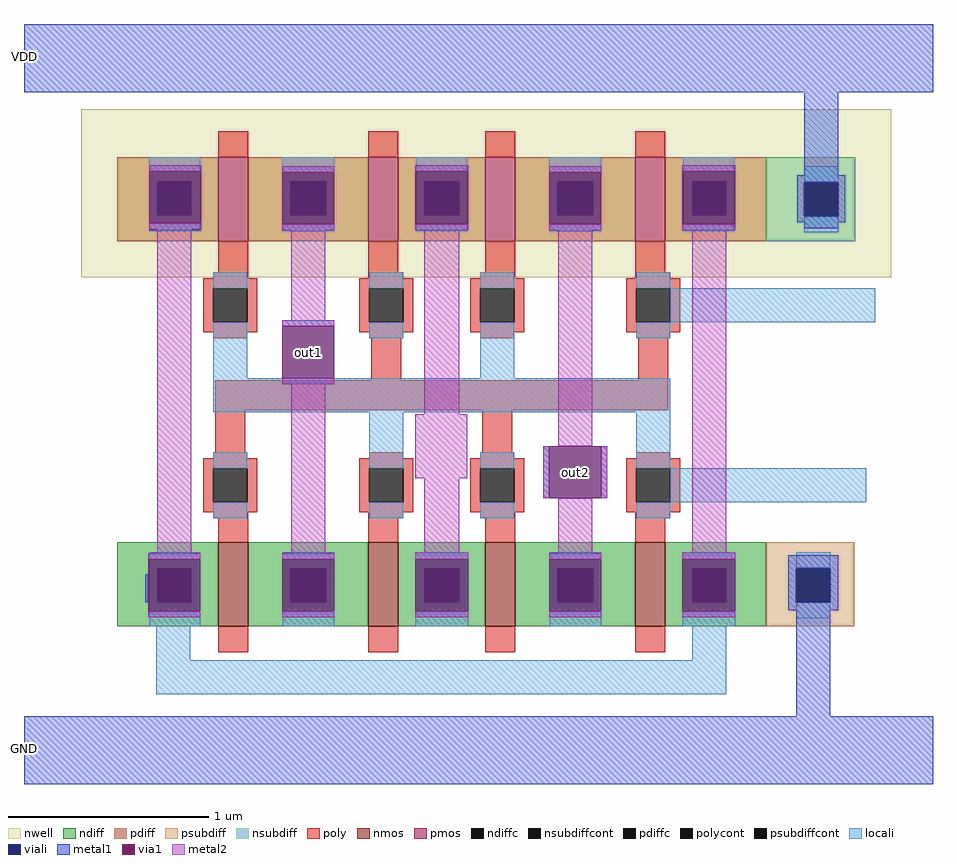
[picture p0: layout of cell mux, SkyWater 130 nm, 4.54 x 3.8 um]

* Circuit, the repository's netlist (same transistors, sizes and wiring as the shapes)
* SPICE3 file created from mux.ext - technology: sky130A

X0 in2 ctrl out1 VDD sky130_fd_pr__pfet_01v8 ad=0p pd=0u as=0p ps=0u w=420000u l=150000u
X1 in1 ctrl out2 VDD sky130_fd_pr__pfet_01v8 ad=0p pd=0u as=0p ps=0u w=420000u l=150000u
X2 out2 ctrl in2 GND sky130_fd_pr__nfet_01v8 ad=0p pd=0u as=0p ps=0u w=420000u l=150000u
X3 out1 ctrl in1 GND sky130_fd_pr__nfet_01v8 ad=0p pd=0u as=0p ps=0u w=420000u l=150000u
X4 in2 ctrlb out1 GND sky130_fd_pr__nfet_01v8 ad=0p pd=0u as=0p ps=0u w=420000u l=150000u
X5 out2 ctrlb in2 VDD sky130_fd_pr__pfet_01v8 ad=0p pd=0u as=0p ps=0u w=420000u l=150000u
X6 in1 ctrlb out2 GND sky130_fd_pr__nfet_01v8 ad=0p pd=0u as=0p ps=0u w=420000u l=150000u
X7 out1 ctrlb in1 VDD sky130_fd_pr__pfet_01v8 ad=0p pd=0u as=0p ps=0u w=420000u l=150000u

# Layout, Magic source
magic
tech sky130B
magscale 1 2
<< nwell >>
rect -167 428 643 596
<< nmos >>
rect -30 79 0 163
rect 120 79 150 163
rect 237 79 267 163
rect 387 79 417 163
<< pmos >>
rect -30 464 0 548
rect 120 464 150 548
rect 237 464 267 548
rect 387 464 417 548
<< ndiff >>
rect -131 137 -30 163
rect -131 103 -91 137
rect -57 103 -30 137
rect -131 79 -30 103
rect 0 137 120 163
rect 0 103 42 137
rect 78 103 120 137
rect 0 79 120 103
rect 150 137 237 163
rect 150 103 176 137
rect 211 103 237 137
rect 150 79 237 103
rect 267 137 387 163
rect 267 103 309 137
rect 345 103 387 137
rect 267 79 387 103
rect 417 137 518 163
rect 417 103 444 137
rect 478 103 518 137
rect 417 79 518 103
<< pdiff >>
rect -131 524 -30 548
rect -131 490 -91 524
rect -57 490 -30 524
rect -131 464 -30 490
rect 0 524 120 548
rect 0 490 42 524
rect 78 490 120 524
rect 0 464 120 490
rect 150 524 237 548
rect 150 490 176 524
rect 211 490 237 524
rect 150 464 237 490
rect 267 524 387 548
rect 267 490 309 524
rect 345 490 387 524
rect 267 464 387 490
rect 417 524 518 548
rect 417 490 444 524
rect 478 490 518 524
rect 417 464 518 490
<< ndiffc >>
rect -91 103 -57 137
rect 42 103 78 137
rect 176 103 211 137
rect 309 103 345 137
rect 444 103 478 137
<< pdiffc >>
rect -91 490 -57 524
rect 42 490 78 524
rect 176 490 211 524
rect 309 490 345 524
rect 444 490 478 524
<< psubdiff >>
rect 518 137 606 163
rect 518 103 548 137
rect 582 103 606 137
rect 518 79 606 103
<< nsubdiff >>
rect 518 523 607 548
rect 518 489 556 523
rect 590 489 607 523
rect 518 464 607 489
<< psubdiffcont >>
rect 548 103 582 137
<< nsubdiffcont >>
rect 556 489 590 523
<< poly >>
rect -30 548 0 574
rect 120 548 150 574
rect 237 548 267 574
rect 387 548 417 574
rect -30 433 0 464
rect -35 427 0 433
rect 120 433 150 464
rect 237 433 267 464
rect 120 427 155 433
rect 232 427 267 433
rect 387 433 417 464
rect 387 427 422 433
rect -45 417 9 427
rect -45 383 -35 417
rect -1 383 9 417
rect -45 373 9 383
rect 111 417 165 427
rect 111 383 121 417
rect 155 383 165 417
rect 111 373 165 383
rect 222 417 276 427
rect 222 383 232 417
rect 266 383 276 417
rect 222 373 276 383
rect 378 417 432 427
rect 378 383 388 417
rect 422 383 432 417
rect 378 373 432 383
rect -35 367 -1 373
rect 121 367 155 373
rect 232 367 266 373
rect 388 367 422 373
rect 123 325 153 367
rect 390 325 420 367
rect -33 295 420 325
rect -33 253 -3 295
rect 234 253 264 295
rect -35 247 -1 253
rect 121 247 155 253
rect 232 247 266 253
rect 388 247 422 253
rect -45 237 9 247
rect -45 203 -35 237
rect -1 203 9 237
rect -45 193 9 203
rect 111 237 165 247
rect 111 203 121 237
rect 155 203 165 237
rect 111 193 165 203
rect 222 237 276 247
rect 222 203 232 237
rect 266 203 276 237
rect 222 193 276 203
rect 378 237 432 247
rect 378 203 388 237
rect 422 203 432 237
rect 378 193 432 203
rect -35 187 0 193
rect -30 163 0 187
rect 120 187 155 193
rect 232 187 267 193
rect 120 163 150 187
rect 237 163 267 187
rect 387 187 422 193
rect 387 163 417 187
rect -30 53 0 79
rect 120 53 150 79
rect 237 53 267 79
rect 387 53 417 79
<< polycont >>
rect -35 383 -1 417
rect 121 383 155 417
rect 232 383 266 417
rect 388 383 422 417
rect -35 203 -1 237
rect 121 203 155 237
rect 232 203 266 237
rect 388 203 422 237
<< locali >>
rect -99 524 -48 548
rect -99 490 -91 524
rect -57 490 -48 524
rect -99 474 -48 490
rect 34 524 86 548
rect 34 490 42 524
rect 78 490 86 524
rect 34 474 86 490
rect 168 524 219 548
rect 168 490 176 524
rect 211 490 219 524
rect 168 474 219 490
rect 301 524 353 548
rect 301 490 309 524
rect 345 490 353 524
rect 301 474 353 490
rect 435 524 486 548
rect 435 490 444 524
rect 478 490 486 524
rect 435 474 486 490
rect 556 523 590 539
rect 556 473 590 489
rect -35 417 -1 433
rect -35 327 -1 383
rect 121 417 155 433
rect 121 367 155 383
rect 232 417 266 433
rect 232 327 266 383
rect 388 417 422 433
rect 422 383 627 417
rect 388 367 422 383
rect -35 293 422 327
rect -35 237 -1 253
rect -35 187 -1 203
rect 121 237 155 293
rect 121 187 155 203
rect 232 237 266 253
rect 232 187 266 203
rect 388 237 422 293
rect 422 203 618 237
rect 388 187 422 203
rect -99 137 -48 153
rect -99 103 -91 137
rect -57 103 -48 137
rect -99 79 -48 103
rect 34 137 86 153
rect 34 103 42 137
rect 78 103 86 137
rect 34 79 86 103
rect 167 137 220 153
rect 167 103 176 137
rect 211 103 220 137
rect 167 79 220 103
rect 301 137 353 153
rect 301 103 309 137
rect 345 103 353 137
rect 301 79 353 103
rect 434 137 487 153
rect 434 103 444 137
rect 478 103 487 137
rect 434 79 487 103
rect 548 137 582 153
rect 548 87 582 103
rect -92 45 -58 79
rect 444 45 478 79
rect -92 11 478 45
<< viali >>
rect -91 490 -57 524
rect 42 490 78 524
rect 176 490 211 524
rect 309 490 345 524
rect 444 490 478 524
rect 556 489 590 523
rect -91 103 -57 137
rect 42 103 78 137
rect 176 103 211 137
rect 309 103 345 137
rect 444 103 478 137
rect 548 103 582 137
<< metal1 >>
rect -224 613 685 681
rect -99 534 -47 540
rect -99 475 -47 482
rect 34 533 86 539
rect 34 475 86 481
rect 167 534 220 540
rect 167 475 220 481
rect 301 533 353 539
rect 301 475 353 481
rect 434 534 487 540
rect 556 530 590 613
rect 549 523 597 530
rect 549 489 556 523
rect 590 489 597 523
rect 549 483 597 489
rect 434 475 487 481
rect 556 477 590 483
rect 42 474 78 475
rect 309 474 345 475
rect 34 379 86 385
rect 34 321 86 327
rect 295 207 301 259
rect 353 207 359 259
rect -100 146 -48 152
rect -103 103 -100 131
rect -100 88 -48 94
rect 34 146 86 152
rect 34 88 86 94
rect 167 146 220 153
rect 167 88 220 94
rect 301 146 353 152
rect 301 88 353 94
rect 434 146 487 153
rect 540 137 590 150
rect 540 103 548 137
rect 582 103 590 137
rect 540 95 590 103
rect 434 88 487 94
rect 548 -11 582 95
rect -224 -79 685 -11
<< via1 >>
rect -99 524 -47 534
rect -99 490 -91 524
rect -91 490 -57 524
rect -57 490 -47 524
rect -99 482 -47 490
rect 34 524 86 533
rect 34 490 42 524
rect 42 490 78 524
rect 78 490 86 524
rect 34 481 86 490
rect 167 524 220 534
rect 167 490 176 524
rect 176 490 211 524
rect 211 490 220 524
rect 167 481 220 490
rect 301 524 353 533
rect 301 490 309 524
rect 309 490 345 524
rect 345 490 353 524
rect 301 481 353 490
rect 434 524 487 534
rect 434 490 444 524
rect 444 490 478 524
rect 478 490 487 524
rect 434 481 487 490
rect 34 327 86 379
rect 301 207 353 259
rect -100 137 -48 146
rect -100 103 -91 137
rect -91 103 -57 137
rect -57 103 -48 137
rect -100 94 -48 103
rect 34 137 86 146
rect 34 103 42 137
rect 42 103 78 137
rect 78 103 86 137
rect 34 94 86 103
rect 167 137 220 146
rect 167 103 176 137
rect 176 103 211 137
rect 211 103 220 137
rect 167 94 220 103
rect 301 137 353 146
rect 301 103 309 137
rect 309 103 345 137
rect 345 103 353 137
rect 301 94 353 103
rect 434 137 487 146
rect 434 103 444 137
rect 444 103 478 137
rect 478 103 487 137
rect 434 94 487 103
<< metal2 >>
rect -99 534 -47 540
rect -99 476 -47 482
rect 34 533 86 539
rect -91 152 -57 476
rect 34 475 86 481
rect 167 534 220 540
rect 167 475 220 481
rect 301 533 353 539
rect 301 475 353 481
rect 434 534 487 540
rect 434 475 487 481
rect 43 385 77 475
rect 34 379 86 385
rect 34 321 86 327
rect 43 152 77 321
rect 176 291 211 475
rect 167 227 219 291
rect 310 259 344 475
rect 176 153 211 227
rect 295 207 301 259
rect 353 207 359 259
rect -100 146 -48 152
rect -100 88 -48 94
rect 34 146 86 152
rect 34 88 86 94
rect 167 146 220 153
rect 310 152 344 207
rect 444 153 478 475
rect 167 88 220 94
rect 301 146 353 152
rect 301 88 353 94
rect 434 146 487 153
rect 434 88 487 94
<< labels >>
rlabel metal1 -224 649 -224 649 7 VDD
rlabel metal1 -224 -43 -224 -43 7 GND
flabel metal2 34 321 86 385 0 FreeSans 160 0 0 0 out1
flabel metal2 295 207 359 259 0 FreeSans 160 0 0 0 out2
<< end >>
